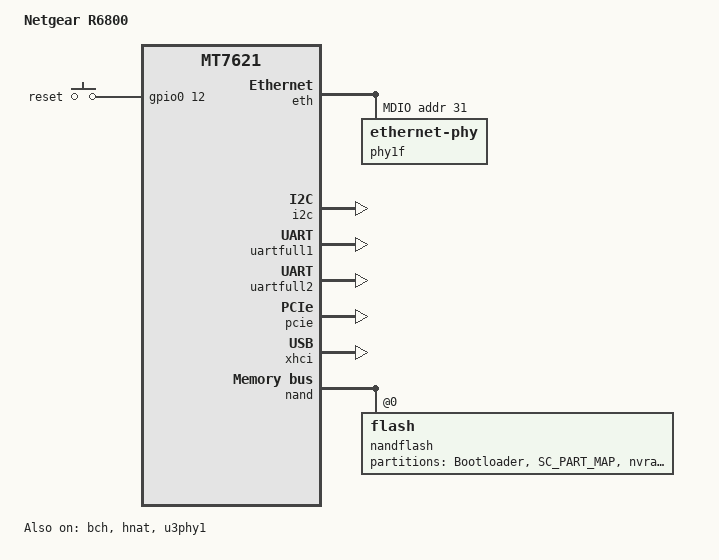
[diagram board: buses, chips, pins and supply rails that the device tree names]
/dts-v1/;

#include "mt7621_ac.dtsi"
#include <dt-bindings/input/input.h>

/ {
	compatible = "mediatek,mt7621-r6800", "mediatek,mt7621-soc";
	model = "Netgear R6800";

	chosen {
		bootargs = "console=ttyS0,115200";
	};

	gpio-keys-polled {
		compatible = "gpio-keys-polled";
		#address-cells = <1>;
		#size-cells = <0>;
		poll-interval = <20>;

		reset {
			label = "reset";
			gpios = <&gpio0 12 0>;
			linux,code = <KEY_RESTART>;
		};
	};

	jffs2-concat {
		compatible = "mtd-concat";
		devices = <&jffsconcat0 &jffsconcat1>;

		partitions {
			compatible = "fixed-partitions";
			#address-cells = <1>;
			#size-cells = <1>;

			partition@0 {
				label = "jffs2";
				reg = <0x0 0x41c0000>;
			};
		};
	};
};

&bch {
	status = "okay";
};

&eth {
        status = "okay";

        gmac0: mac@0 {
                compatible = "mediatek,eth-mac";
                reg = <0>;
                phy-mode = "trgmii";
                fixed-link {
                        speed = <1000>;
                        full-duplex;
                        pause;
                };
        };

        gmac1: mac@1 {
                compatible = "mediatek,eth-mac";
                reg = <1>;
                phy-mode = "rgmii";
                fixed-link {
                        speed = <1000>;
                        full-duplex;
                        pause;
                };
        };

        mdio: mdio-bus {
                #address-cells = <1>;
                #size-cells = <0>;

                phy1f: ethernet-phy@1f {
                        reg = <0x1f>;
                        phy-mode = "rgmii";
                };
        };
};

&gsw {
        mediatek,mdio = <&mdio>;
        mediatek,portmap = "llllw";
        mediatek,mcm;
		mt7530,direct-phy-access;

        resets = <&rstctrl 2>;
        reset-names = "mcm";

        port5: port@5 {
                compatible = "mediatek,mt753x-port";
                reg = <5>;
                phy-mode = "rgmii";
                fixed-link {
                        speed = <1000>;
                        full-duplex;
                };
        };

        port6: port@6 {
                compatible = "mediatek,mt753x-port";
                reg = <6>;
                phy-mode = "trgmii";
                fixed-link {
                        speed = <1000>;
                        full-duplex;
                };
        };

        mdio-bus {
                #address-cells = <1>;
                #size-cells = <0>;
        };
};

&hnat {
        mtketh-wan = "eth1";
        mtketh-ppd = "vlan1";
		mtketh-lan = "vlan1";
        ext-devices = "rai0", "ra0", "rai1", "ra1", "rai2", "ra2", "rai3", "ra3", "apclii0", "apcli0";
        mtketh-max-gmac = <2>;
        status = "okay";
};

&i2c {
	status = "okay";
};

&pinctrl {
	state_default: pinctrl0 {

		uart2 {
			mtk,group = "uart2";
			mtk,function = "gpio";
		};

		uart3 {
			mtk,group = "uart3";
			mtk,function = "gpio";
		};

		jtag {
			mtk,group = "jtag";
			mtk,function = "gpio";
		};

		wdt {
			mtk,group = "wdt";
			mtk,function = "gpio";
		};
	};
};

&uartfull1 {
	status = "okay";
};

&uartfull2 {
	status = "okay";
};

&pcie {
	status = "okay";
};

&u3phy1 {
	status = "okay";
};

&xhci {
	status = "okay";
};

&nand {
	status = "okay";

	nandflash: flash@0 {
		reg = <0>;
		nand-ecc-mode = "hw";
		partitions {
			compatible = "fixed-partitions";
			#address-cells = <1>;
			#size-cells = <1>;

			partition@0 {
				label = "Bootloader";
				reg = <0x00000 0xe0000>;
			};

			partition@100000 {
				label = "SC_PART_MAP";
				reg = <0x100000 0x40000>;
				read-only;
			};

			partition@0x140000 {
				label = "nvram";
				reg = <0x140000 0xC0000>;
			};

			partition@200000 {
				label = "Kernel";
				reg = <0x200000 0x2c00000>;
			};

			jffsconcat0: partition@2e00000 {
				label = "jffsconcat0";
				reg = <0x2e00000 0x1600000>;
			};

			partition@4400000  {
				label = "Factory2";
				reg = <0x4400000 0x200000>;
			};

			factory: partition@4600000 {
				label = "Factory";
				reg = <0x4600000 0x200000>;
			};

			partition@4800000 {
				label = "boarddata";
				reg = <0x4800000 0x200000>;
			};

			partition@4a00000 {
				label = "backup";
				reg = <0x4a00000 0xa20000>;
			};

			jffsconcat1: partition@5420000 {
				label = "jffsconcat1";
				reg = <0x5420000 0x2bc0000>;
			};
		};
	};
};
